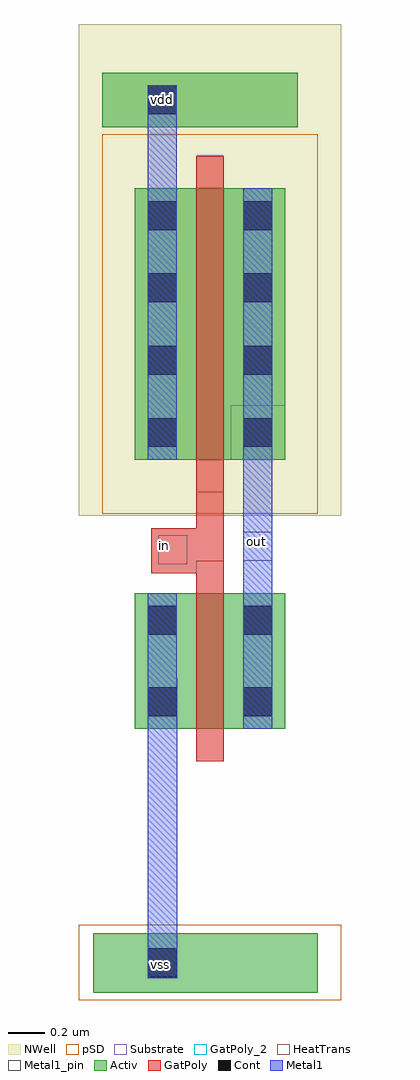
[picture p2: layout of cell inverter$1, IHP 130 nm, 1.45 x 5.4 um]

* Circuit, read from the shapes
.subckt inverter$1 in out vdd vss
XM1 out in vss vss sg13_lv_nmos w=0.75u l=0.15u
XM2 out in vdd vdd sg13_lv_pmos w=1.5u l=0.15u
.ends

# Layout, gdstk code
import gdstk
lib = gdstk.Library(unit=1e-6, precision=5e-09)
def R(c, l, rs):  # rectangles x0, y0, x1, y1
    for r in rs: c.add(gdstk.rectangle(r[:2], r[2:], *l))
def A(c, l, x, y, w, h, nx, ny, dx, dy):  # array of equal rectangles
    R(c, l, [(x+i*dx, y+j*dy, x+i*dx+w, y+j*dy+h) for i in range(nx) for j in range(ny)])
Activ = (1, 0)
GatPoly = (5, 0)
GatPoly_2 = (5, 2)
Cont = (6, 0)
Metal1 = (8, 0)
Metal1_pin = (8, 2)
pSD = (14, 0)
NWell = (31, 0)
Substrate = (40, 0)
HeatTrans = (51, 0)

nmos_2 = lib.new_cell('nmos$2')
R(nmos_2, Activ, [(0,0,0.3,0.3), (0,0,0.83,0.75), (0.53,0,0.83,0.3)])
R(nmos_2, GatPoly, [(0.34,-0.18,0.49,0.93)])
R(nmos_2, GatPoly_2, [(0.34,-0.18,0.49,0.93)])
R(nmos_2, Cont, [(0.07,0.07,0.23,0.23), (0.6,0.07,0.76,0.23), (0.07,0.52,0.23,0.68), (0.6,0.52,0.76,0.68)])
R(nmos_2, Metal1, [(0.07,0,0.23,0.75), (0.6,0,0.76,0.75)])
R(nmos_2, Metal1_pin, [(0.07,0,0.23,0.75), (0.6,0,0.76,0.75)])
R(nmos_2, HeatTrans, [(0.34,-0.18,0.49,0.93)])
nmos_2.add(gdstk.Label('nmos', (0.415,0.375), layer=63, texttype=0))
nmos_2.add(gdstk.Label('nmos', (0.415,0.375), layer=51, texttype=0))

pmos_2 = lib.new_cell('pmos$2')
R(pmos_2, Activ, [(0,0,0.3,0.3), (0,0,0.83,1.5), (0.53,0,0.83,0.3)])
R(pmos_2, GatPoly, [(0.34,-0.18,0.49,1.68), (0.34,-0.18,0.49,1.68)])
A(pmos_2, Cont, 0.07, 0.07, 0.16, 0.16, 1, 4, 0, 0.4)
A(pmos_2, Cont, 0.6, 0.07, 0.16, 0.16, 1, 4, 0, 0.4)
R(pmos_2, Metal1, [(0.07,0,0.23,1.5), (0.07,0,0.23,1.5), (0.6,0,0.76,1.5), (0.6,0,0.76,1.5)])
R(pmos_2, pSD, [(-0.18,-0.3,1.01,1.8)])
R(pmos_2, NWell, [(-0.31,-0.31,1.14,1.81)])
R(pmos_2, Substrate, [(0.53,0,0.83,0.3)])
R(pmos_2, HeatTrans, [(0.34,-0.18,0.49,1.68)])
pmos_2.add(gdstk.Label('pmos', (0.415,0.75), layer=63, texttype=0))
pmos_2.add(gdstk.Label('pmos', (0.415,0.75), layer=51, texttype=0))

inverter_1 = lib.new_cell('inverter$1')
R(inverter_1, Activ, [(-0.845,-2.585,0.395,-2.255), (-0.795,2.205,0.285,2.505)])
R(inverter_1, GatPoly, [(-0.525,-0.265,-0.275,-0.015), (-0.275,-0.195,-0.125,0.185)])
R(inverter_1, GatPoly_2, [(-0.485,-0.215,-0.325,-0.055)])
R(inverter_1, Cont, [(-0.545,-2.5,-0.385,-2.34), (-0.545,-2.5,-0.385,-2.34), (-0.545,2.275,-0.385,2.435)])
R(inverter_1, Metal1, [(-0.545,-2.505,-0.38,-0.845), (-0.015,-0.375,0.145,0.365), (-0.545,1.865,-0.385,2.435)])
R(inverter_1, Metal1_pin, [(-0.015,-0.195,0.145,-0.035)])
R(inverter_1, pSD, [(-0.925,-2.625,0.525,-2.21)])
R(inverter_1, NWell, [(-0.925,2.175,0.525,2.775)])
inverter_1.add(gdstk.Reference(nmos_2, (-0.615,-1.125)))
inverter_1.add(gdstk.Reference(pmos_2, (-0.615,0.365)))
inverter_1.add(gdstk.Label('vss', (-0.475,-2.43), layer=8, texttype=2))
inverter_1.add(gdstk.Label('vdd', (-0.465,2.355), layer=8, texttype=2))
inverter_1.add(gdstk.Label('out', (0.06,-0.09), layer=8, texttype=2))
inverter_1.add(gdstk.Label('in', (-0.45,-0.11), layer=5, texttype=2))

lib.write_gds('inverter_1.gds')
